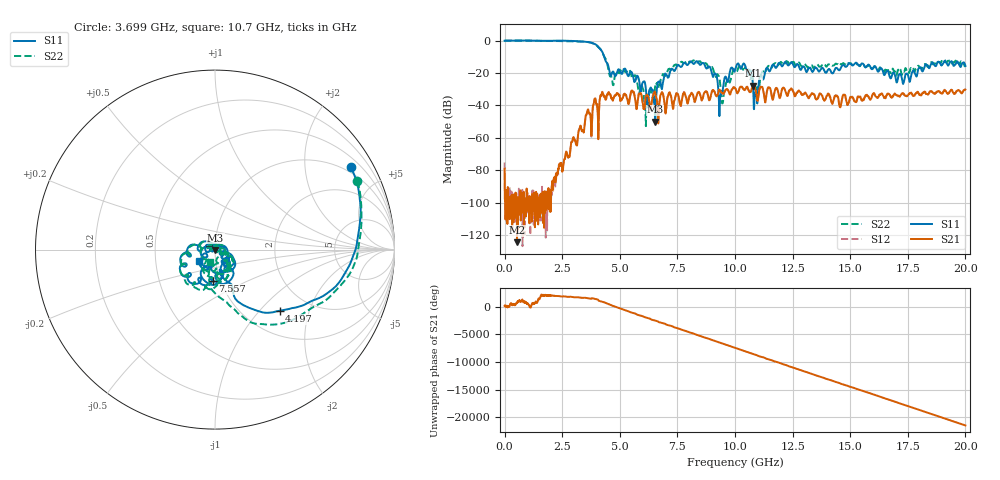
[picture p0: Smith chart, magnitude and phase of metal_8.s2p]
#  HZ  S  RI  R  50.00
! Rohde & Schwarz Vector Network Analyzer
! Rohde-Schwarz,ZNB20-2Port,1311601062102128,3.60
! Created: UTC 4/29/2024, 3:48:52 PM
! freq[Hz]  re:S11  im:S11  re:S21  im:S21  re:S12  im:S12  re:S22  im:S22
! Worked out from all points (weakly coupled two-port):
!   2007 points, 100 kHz to 20 GHz, reference 50 ohm
!   highest |S21| = -27.83 dB at 10.8 GHz (marker M1); lowest = -124.4 dB at 538.5 MHz (marker M2)
!   lowest |S11| = -50.1 dB at 6.53 GHz (marker M3), VSWR 1.01, Z = 50.3 - j0.15 ohm
!   |S11| at or under -10 dB: 4.327 GHz to end of sweep
!   |S22| runs from -52.8 to 0.1 dB; largest |S21 - S12| = 0.0024
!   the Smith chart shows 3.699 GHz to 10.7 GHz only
!   S11 on the Smith chart (normalised r, x): 3.699 GHz: 0.79, +3.38; 4.197 GHz: 1.44, -1.30; 7.557 GHz: 0.92, -0.33; 10.7 GHz: 0.83, -0.10
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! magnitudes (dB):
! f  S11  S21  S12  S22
! 100 kHz  0.0  -79.1  -75.2  0.1
! 538.5 MHz  0.0  -124.4  -97.6  0.0
! 2.243 GHz  0.0  -82.2  -82.7  -0.3
! 3.34 GHz  -0.6  -55.4  -55.0  -0.6
! 3.699 GHz  -1.1  -45.1  -45.2  -1.1
! 4.197 GHz  -6.1  -33.7  -34.1  -6.1
! 4.646 GHz  -20.6  -35.1  -35.3  -22.8
! 5.394 GHz  -21.5  -38.5  -38.5  -17.8
! 6.132 GHz  -29.9  -34.4  -34.5  -52.8
! 6.53 GHz  -50.1  -31.7  -31.9  -28.4
! 6.67 GHz  -25.4  -51.1  -50.3  -28.0
! 7.557 GHz  -15.1  -34.8  -34.7  -14.9
! 8.883 GHz  -16.0  -36.7  -36.9  -17.1
! 9.372 GHz  -33.7  -31.4  -31.4  -28.2
! 10 GHz  -18.5  -29.4  -29.3  -17.9
! 10.7 GHz  -19.2  -31.3  -31.2  -22.5
! 10.8 GHz  -32.6  -27.8  -27.6  -24.8
! 10.91 GHz  -31.7  -31.3  -31.2  -31.5
! 11.66 GHz  -14.7  -35.7  -35.9  -14.9
! 13.34 GHz  -19.0  -32.4  -32.5  -15.2
! 16.67 GHz  -19.8  -32.8  -32.9  -19.5
! 20 GHz  -15.8  -30.2  -30.3  -14.8
